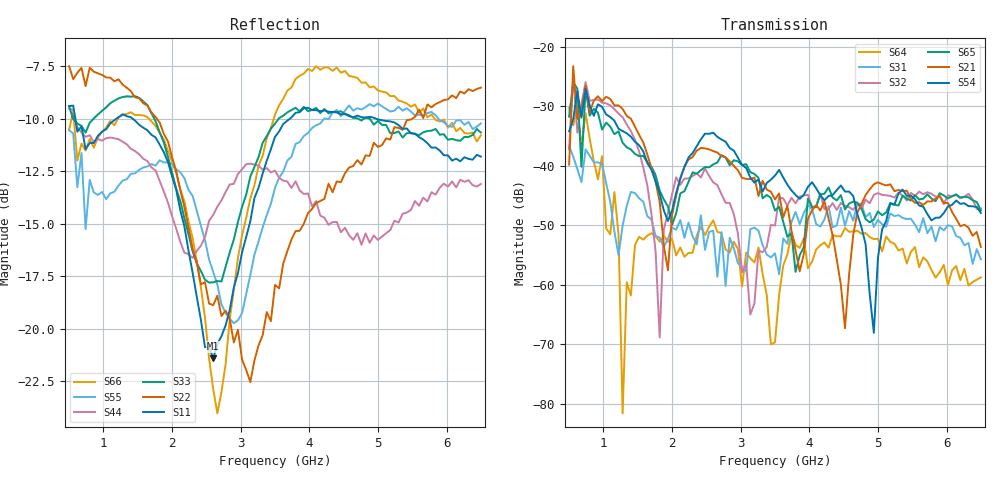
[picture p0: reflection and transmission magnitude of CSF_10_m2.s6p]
!Keysight Technologies,M9804A,MY58100912,A.14.10.03
!Date: Thursday, April 27, 2023 10:28:33
!Correction: S11(C  6-Port  )
!S12(C  6-Port  )
!S13(C  6-Port  )
!S14(C  6-Port  )
!S15(C  6-Port  )
!S16(C  6-Port  )
!S21(C  6-Port  )
!S22(C  6-Port  )
!S23(C  6-Port  )
!S24(C  6-Port  )
!S25(C  6-Port  )
!S26(C  6-Port  )
!S31(C  6-Port  )
!S32(C  6-Port  )
!S33(C  6-Port  )
!S34(C  6-Port  )
!S35(C  6-Port  )
!S36(C  6-Port  )
!S41(C  6-Port  )
!S42(C  6-Port  )
!S43(C  6-Port  )
!S44(C  6-Port  )
!S45(C  6-Port  )
!S46(C  6-Port  )
!S51(C  6-Port  )
!S52(C  6-Port  )
!S53(C  6-Port  )
!S54(C  6-Port  )
!S55(C  6-Port  )
!S56(C  6-Port  )
!S61(C  6-Port  )
!S62(C  6-Port  )
!S63(C  6-Port  )
!S64(C  6-Port  )
!S65(C  6-Port  )
!S66(C  6-Port  )
!S6P File: Measurement: :
# Hz S  RI  R 50
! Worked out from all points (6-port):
!   101 points, 500 MHz to 6.5 GHz, reference 50 ohm
!   strongest paths, dB at 500 MHz, 2 GHz, 3.5 GHz, 5 GHz, 6.5 GHz:
!     S54: -34.2, -47.5, -41.7, -55.5, -47.9
!     S21: -39.8, -48.3, -45.7, -42.8, -53.7
!     S65: -31.8, -49.9, -47.5, -47.7, -47.5
!     S32: -37.2, -44.8, -50.1, -44.6, -47.2
!     S31: -36.7, -50.4, -54.7, -49.1, -55.7
!     S64: -30.3, -52.4, -69.7, -52.3, -58.8
!   lowest |S11| = -21.4 dB at 2.6 GHz (marker M1), VSWR 1.19, Z = 42.5 + j2.22 ohm
!   |S11| at or under -10 dB: 590.3 MHz to 1.187 GHz (597 MHz wide, 67.2 % of centre); 1.428 GHz to 3.714 GHz (2.286 GHz wide, 88.9 % of centre); 4.976 GHz to end of sweep
